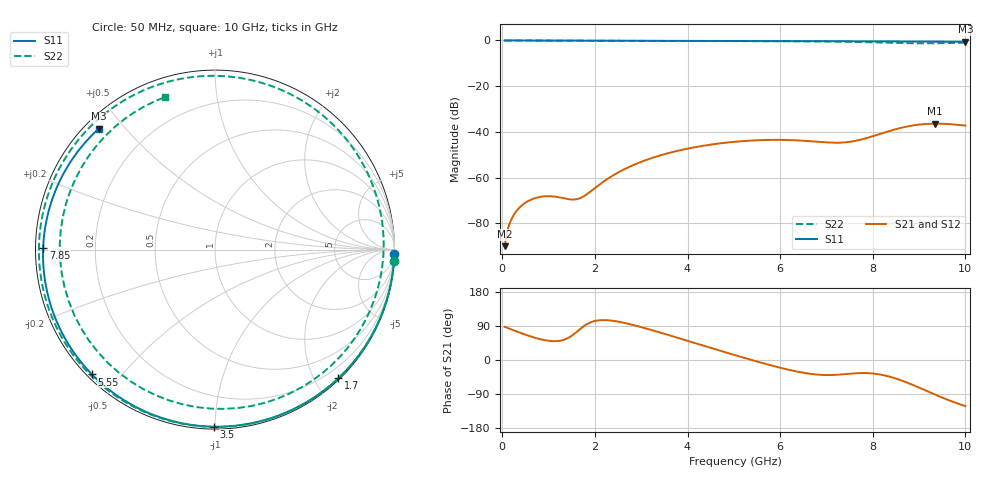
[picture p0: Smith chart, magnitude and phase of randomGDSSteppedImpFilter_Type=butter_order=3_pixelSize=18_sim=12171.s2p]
! freq	dB(S11)	phase(S11)	dB(S12)	phase(S12)
!  dB(S21)	phase(S21)	dB(S22)	phase(S22)
!S-par simulation data
#  GHz  S  DB  R 50
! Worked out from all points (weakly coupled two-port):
!   200 points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, 50 MHz to 10 GHz, reference 50 ohm
!   highest |S21| = -36.38 dB at 9.35 GHz (marker M1); lowest = -90.0 dB at 50 MHz (marker M2)
!   lowest |S11| = -0.6 dB at 10 GHz (marker M3), VSWR 29.47, Z = 2 + j21.2 ohm
!   |S11| at or under -10 dB: nowhere
!   |S22| runs from -1.3 to 0.0 dB; largest |S21 - S12| = 0
!   S11 on the Smith chart (normalised r, x): 50 MHz: 0, -82; 1.7 GHz: 0.02, -2.34; 3.5 GHz: 0.01, -0.99; 5.55 GHz: 0.01, -0.42; 7.85 GHz: 0.02, +0.00; 10 GHz: 0.04, +0.42
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0.05  -0.00 -1.4  -89.97 87.6  -89.97 87.6  -0.00 -3.5
0.15  -0.01 -4.2  -80.50 82.8  -80.50 82.8  -0.01 -10.5
0.5  -0.02 -13.9  -70.95 66.8  -70.95 66.8  -0.05 -34.4
0.9  -0.03 -24.8  -68.19 52.8  -68.19 52.8  -0.07 -60.4
1.7  -0.06 -46.2  -68.78 83.7  -68.78 83.7  -0.11 -106.0
1.75  -0.06 -47.5  -68.25 88.4  -68.25 88.4  -0.12 -108.5
2.55  -0.08 -67.8  -57.20 100.1  -57.20 100.1  -0.14 -145.8
3.4  -0.11 -88.1  -50.33 72.8  -50.33 72.8  -0.17 179.7
3.5  -0.12 -90.4  -49.74 69.2  -49.74 69.2  -0.17 175.8
4.25  -0.14 -107.2  -46.36 41.3  -46.36 41.3  -0.20 147.2
5.05  -0.18 -124.3  -44.26 11.9  -44.26 11.9  -0.24 115.8
5.55  -0.21 -134.6  -43.62 -5.7  -43.62 -5.7  -0.27 94.9
6.15  -0.24 -146.7  -43.53 -24.8  -43.53 -24.8  -0.32 67.2
6.7  -0.28 -157.6  -44.15 -37.2  -44.15 -37.2  -0.40 38.3
7.3  -0.33 -169.5  -44.69 -38.4  -44.69 -38.4  -0.54 1.1
7.85  -0.38 179.5  -42.78 -34.4  -42.78 -34.4  -0.75 -40.6
8.35  -0.42 169.3  -39.65 -43.5  -39.65 -43.5  -1.02 -86.4
8.6  -0.45 164.2  -38.27 -53.2  -38.27 -53.2  -1.15 -112.0
8.9  -0.48 157.9  -37.07 -67.6  -37.07 -67.6  -1.25 -144.2
9.35  -0.52 148.3  -36.38 -91.6  -36.38 -91.6  -1.24 167.9
9.7  -0.56 140.6  -36.66 -108.9  -36.66 -108.9  -1.11 133.9
10  -0.59 133.9  -37.25 -121.6  -37.25 -121.6  -0.97 108.1
